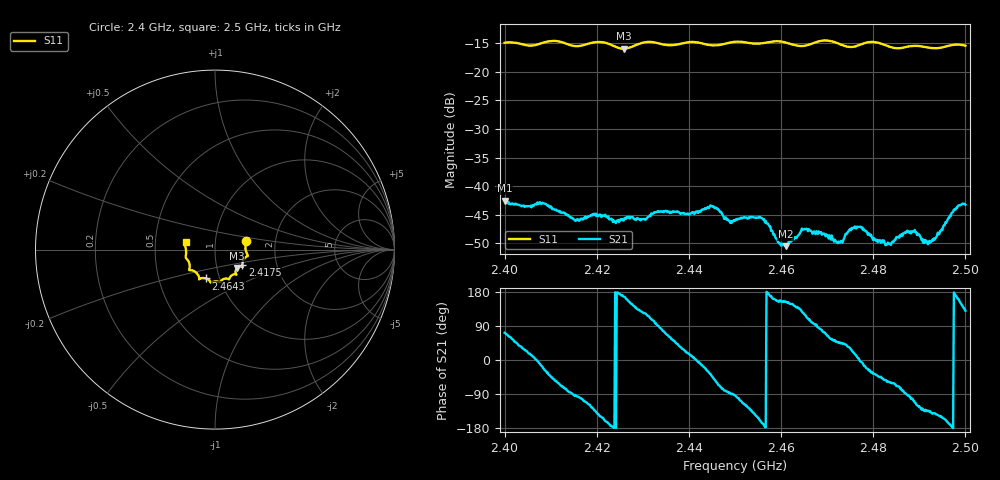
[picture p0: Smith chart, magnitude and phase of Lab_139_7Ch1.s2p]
# Hz S RI R 50
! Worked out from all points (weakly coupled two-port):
!   601 points, 2.4 GHz to 2.5 GHz, reference 50 ohm
!   highest |S21| = -42.55 dB at 2.4 GHz (marker M1); lowest = -50.5 dB at 2.461 GHz (marker M2)
!   lowest |S11| = -15.9 dB at 2.4258 GHz (marker M3), VSWR 1.38, Z = 62.3 - j13.2 ohm
!   |S11| at or under -10 dB: start of sweep to end of sweep
!   S12 and S22 are empty: the file has one direction only
!   S11 on the Smith chart (normalised r, x): 2.4 GHz: 1.41, +0.14; 2.4175 GHz: 1.34, -0.23; 2.4643 GHz: 0.86, -0.29; 2.5 GHz: 0.72, +0.06
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2.4e9  0.1731 0.049  0.00231 0.00709  0 0  0 0
2.408667e9  0.18 -0.026  0.00631 -0.00306  0 0  0 0
2.416667e9  0.1529 -0.0739  -0.00109 -0.00507  0 0  0 0
2.4175e9  0.1518 -0.0835  -0.00189 -0.00509  0 0  0 0
2.425833e9  0.122 -0.1029  -0.00487 0.0011  0 0  0 0
2.433333e9  0.1137 -0.1368  -4.03e-05 0.00604  0 0  0 0
2.439833e9  0.0795 -0.1636  0.00547 0.00172  0 0  0 0
2.445e9  0.0559 -0.1614  0.00489 -0.00456  0 0  0 0
2.45e9  0.0291 -0.1813  -0.000301 -0.00495  0 0  0 0
2.455833e9  -0.00509 -0.1779  -0.00509 -0.00121  0 0  0 0
2.459667e9  -0.024 -0.1836  -0.00285 0.00127  0 0  0 0
2.461e9  -0.0269 -0.1789  -0.00268 0.00129  0 0  0 0
2.464333e9  -0.0498 -0.1608  -0.00264 0.00302  0 0  0 0
2.466667e9  -0.0763 -0.1593  -0.000599 0.00392  0 0  0 0
2.472833e9  -0.0906 -0.149  0.00231 0.00221  0 0  0 0
2.475e9  -0.1065 -0.1263  0.00362 0.00215  0 0  0 0
2.477e9  -0.1269 -0.1157  0.0044 -3.66e-06  0 0  0 0
2.483333e9  -0.141 -0.0897  0.00168 -0.00262  0 0  0 0
2.488833e9  -0.1628 -0.0457  -0.00123 -0.00381  0 0  0 0
2.492333e9  -0.161 -0.0218  -0.00226 -0.00226  0 0  0 0
2.498e9  -0.1705 0.033  -0.00632 0.00127  0 0  0 0
2.5e9  -0.1638 0.0431  -0.00442 0.00525  0 0  0 0
